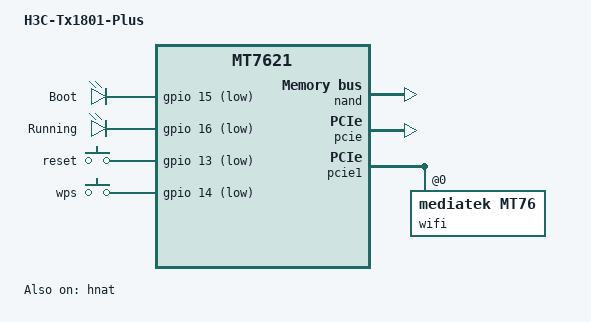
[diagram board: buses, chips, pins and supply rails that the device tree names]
// SPDX-License-Identifier: GPL-2.0-or-later OR MIT

#include "mt7621.dtsi"

#include <dt-bindings/gpio/gpio.h>
#include <dt-bindings/input/input.h>

/ {
	compatible = "h3c,tx1801-plus", "mediatek,mt7621-soc";
	model = "H3C-Tx1801-Plus";

	aliases {
		led-boot = &led_sys_orange;
		led-failsafe = &led_sys_orange;
		led-running = &led_sys_green;
		led-upgrade = &led_sys_orange;
		label-mac-device = &gmac0;
	};

	chosen {
		bootargs = "console=ttyS0,115200n8";
	};

	leds {
		compatible = "gpio-leds";

		led_sys_orange: sys_orange {
			label = "Boot";
			gpios = <&gpio 15 GPIO_ACTIVE_LOW>;
		};

		led_sys_green: sys_green {
			label = "Running";
			gpios = <&gpio 16 GPIO_ACTIVE_LOW>;
		};

	};

	keys {
		compatible = "gpio-keys";

		reset {
			label = "reset";
			gpios = <&gpio 13 GPIO_ACTIVE_LOW>;
			linux,code = <KEY_RESTART>;
		};

		wps {
			label = "wps";
			gpios = <&gpio 14 GPIO_ACTIVE_LOW>;
			linux,code = <KEY_WPS_BUTTON>;
		};
	};
};

	ubi-concat {
		compatible = "mtd-concat";
		devices = <&ubiconcat0 &ubiconcat1>;

		partitions {
			compatible = "fixed-partitions";
			#address-cells = <1>;
			#size-cells = <1>;

			partition@0 {
				label = "ubi";
				reg = <0x0 0x79c0000>;
			};
		};
	};
};

&nand {
	status = "okay";

	partitions {
		compatible = "fixed-partitions";
		#address-cells = <1>;
		#size-cells = <1>;

		partition@0 {
			label = "u-boot";
			reg = <0x0 0x80000>;
			read-only;
		};

		partition@80000 {
			label = "debug";
			reg = <0x80000 0x80000>;
			read-only;
		};

		factory: partition@100000 {
			label = "factory";
			reg = <0x100000 0x40000>;
			read-only;
		};

		partition@140000 {
			label = "kernel";
			reg = <0x140000 0x400000>;
		};

		ubiconcat0: partition@540000 {
			label = "ubiconcat0";
			reg = <0x540000 0x1c80000>;
		};

		partition@21c0000 {
			label = "bdinfo";
			reg = <0x21c0000 0x80000>;
			read-only;
		};

		ubiconcat1: partition@2240000 {
			label = "ubiconcat1";
			reg = <0x2240000 0x5d40000>;
		};
	};
};

&pcie {
	status = "okay";
};

&pcie1 {
	wifi@0,0 {
		compatible = "mediatek,mt76";
		reg = <0x0000 0 0 0 0>;
		mediatek,mtd-eeprom = <&factory 0x0>;
	};
};

&gmac0 {
	nvmem-cells = <&macaddr_factory_3fff4>;
	nvmem-cell-names = "mac-address";
};

&gmac1 {
	nvmem-cells = <&macaddr_factory_3fffa>;
	nvmem-cell-names = "mac-address";
};

&gsw {
	mediatek,mdio = <&mdio>;
	mediatek,portmap = "llllw";
	mediatek,mcm;
	mt7530,direct-phy-access;

	resets = <&rstctrl 2>;
	reset-names = "mcm";

	port5: port@5 {
		compatible = "mediatek,mt753x-port";
		reg = <5>;
		phy-mode = "rgmii";
		fixed-link {
			speed = <1000>;
			full-duplex;
		};
	};

	port6: port@6 {
		compatible = "mediatek,mt753x-port";
		reg = <6>;
		phy-mode = "rgmii";
		fixed-link {
			speed = <1000>;
			full-duplex;
		};
	};

	mdio-bus {
		#address-cells = <1>;
		#size-cells = <0>;
	};
};


&switch0 {
	/* must delete compatible property */
	/delete-property/ compatible;
};

&hnat {
        mtketh-wan = "eth1";
        mtketh-ppd = "eth0";
        mtketh-lan = "eth0";
	ext-devices = "wlan0","wlan1","rax0","ra0", "rai0","apclii0","apclix0", "apcli0";
        mtketh-max-gmac = <2>;
        status = "okay";
};


&state_default {
	gpio {
		groups = "jtag", "uart3", "wdt";
		function = "gpio";
	};
};

&factory {
	compatible = "nvmem-cells";
	#address-cells = <1>;
	#size-cells = <1>;

	macaddr_factory_3fff4: macaddr@3fff4 {
		reg = <0x3fff4 0x6>;
	};

	macaddr_factory_3fffa: macaddr@3fffa {
		reg = <0x3fffa 0x6>;
	};
};
